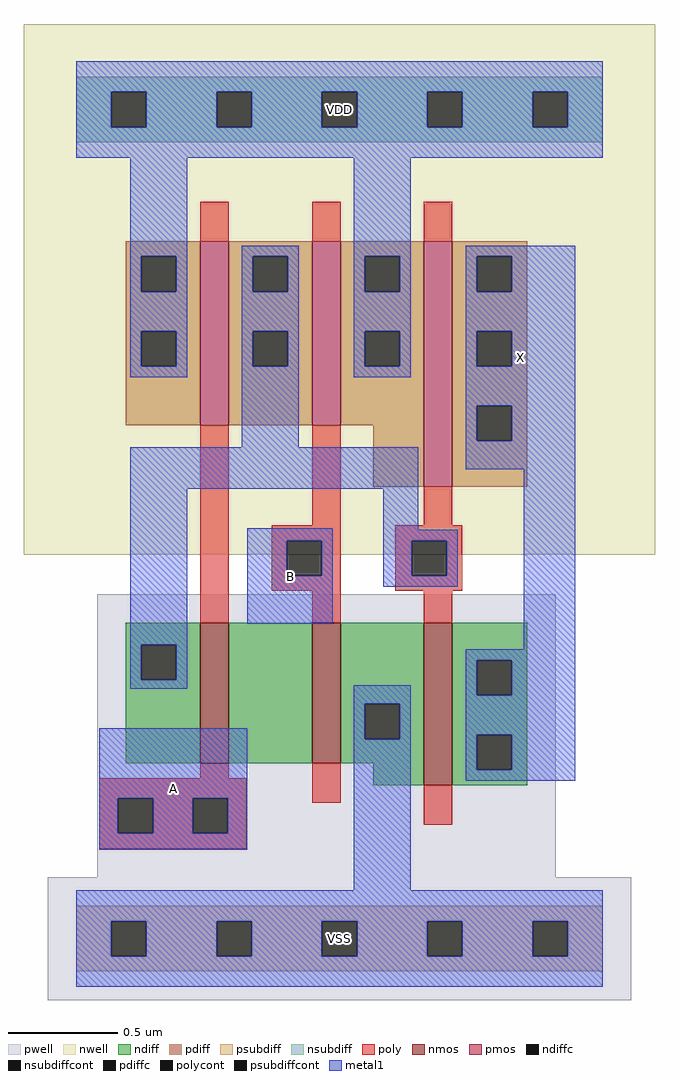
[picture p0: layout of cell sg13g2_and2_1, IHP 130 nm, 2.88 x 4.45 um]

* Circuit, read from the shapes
.subckt sg13g2_and2_1 X VSS VDD B A
XM1 n1 A n2 VSS sg13_lv_nmos w=0.64u l=0.13u
XM2 VSS B n1 VSS sg13_lv_nmos w=0.64u l=0.13u
XM3 X n2 VSS VSS sg13_lv_nmos w=0.74u l=0.13u
XM4 n2 A VDD VDD sg13_lv_pmos w=0.84u l=0.13u
XM5 VDD B n2 VDD sg13_lv_pmos w=0.84u l=0.13u
XM6 X n2 VDD VDD sg13_lv_pmos w=1.12u l=0.13u
.ends

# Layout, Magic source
magic
tech ihp-sg13g2
magscale 1 2
<< nwell >>
rect -48 350 528 834
<< pwell >>
rect 19 56 437 314
rect -26 -56 506 56
<< nmos >>
rect 113 160 139 288
rect 215 160 241 288
rect 317 140 343 288
<< pmos >>
rect 113 468 139 636
rect 215 468 241 636
rect 317 412 343 636
<< ndiff >>
rect 45 268 113 288
rect 45 236 59 268
rect 91 236 113 268
rect 45 160 113 236
rect 139 160 215 288
rect 241 214 317 288
rect 241 182 263 214
rect 295 182 317 214
rect 241 160 317 182
rect 271 140 317 160
rect 343 254 411 288
rect 343 222 365 254
rect 397 222 411 254
rect 343 186 411 222
rect 343 154 365 186
rect 397 154 411 186
rect 343 140 411 154
<< pdiff >>
rect 45 622 113 636
rect 45 590 59 622
rect 91 590 113 622
rect 45 554 113 590
rect 45 522 59 554
rect 91 522 113 554
rect 45 468 113 522
rect 139 622 215 636
rect 139 590 161 622
rect 193 590 215 622
rect 139 554 215 590
rect 139 522 161 554
rect 193 522 215 554
rect 139 468 215 522
rect 241 622 317 636
rect 241 590 263 622
rect 295 590 317 622
rect 241 554 317 590
rect 241 522 263 554
rect 295 522 317 554
rect 241 468 317 522
rect 271 412 317 468
rect 343 622 411 636
rect 343 590 365 622
rect 397 590 411 622
rect 343 554 411 590
rect 343 522 365 554
rect 397 522 411 554
rect 343 486 411 522
rect 343 454 365 486
rect 397 454 411 486
rect 343 412 411 454
<< ndiffc >>
rect 59 236 91 268
rect 263 182 295 214
rect 365 222 397 254
rect 365 154 397 186
<< pdiffc >>
rect 59 590 91 622
rect 59 522 91 554
rect 161 590 193 622
rect 161 522 193 554
rect 263 590 295 622
rect 263 522 295 554
rect 365 590 397 622
rect 365 522 397 554
rect 365 454 397 486
<< psubdiff >>
rect 0 16 480 30
rect 0 -16 32 16
rect 64 -16 128 16
rect 160 -16 224 16
rect 256 -16 320 16
rect 352 -16 416 16
rect 448 -16 480 16
rect 0 -30 480 -16
<< nsubdiff >>
rect 0 772 480 786
rect 0 740 32 772
rect 64 740 128 772
rect 160 740 224 772
rect 256 740 320 772
rect 352 740 416 772
rect 448 740 480 772
rect 0 726 480 740
<< psubdiffcont >>
rect 32 -16 64 16
rect 128 -16 160 16
rect 224 -16 256 16
rect 320 -16 352 16
rect 416 -16 448 16
<< nsubdiffcont >>
rect 32 740 64 772
rect 128 740 160 772
rect 224 740 256 772
rect 320 740 352 772
rect 416 740 448 772
<< poly >>
rect 113 636 139 672
rect 215 636 241 672
rect 317 636 343 672
rect 113 288 139 468
rect 215 377 241 468
rect 317 377 343 412
rect 178 363 241 377
rect 178 331 192 363
rect 224 331 241 363
rect 178 317 241 331
rect 291 363 352 377
rect 291 331 306 363
rect 338 331 352 363
rect 291 317 352 331
rect 215 288 241 317
rect 317 288 343 317
rect 113 146 139 160
rect 21 128 155 146
rect 21 96 38 128
rect 70 96 106 128
rect 138 96 155 128
rect 215 124 241 160
rect 317 104 343 140
rect 21 82 155 96
<< polycont >>
rect 192 331 224 363
rect 306 331 338 363
rect 38 96 70 128
rect 106 96 138 128
<< metal1 >>
rect 0 772 480 800
rect 0 740 32 772
rect 64 740 128 772
rect 160 740 224 772
rect 256 740 320 772
rect 352 740 416 772
rect 448 740 480 772
rect 0 712 480 740
rect 49 622 101 712
rect 49 590 59 622
rect 91 590 101 622
rect 49 554 101 590
rect 49 522 59 554
rect 91 522 101 554
rect 49 512 101 522
rect 151 622 203 632
rect 151 590 161 622
rect 193 590 203 622
rect 151 554 203 590
rect 151 522 161 554
rect 193 522 203 554
rect 151 448 203 522
rect 253 622 305 712
rect 253 590 263 622
rect 295 590 305 622
rect 253 554 305 590
rect 253 522 263 554
rect 295 522 305 554
rect 253 512 305 522
rect 355 622 455 632
rect 355 590 365 622
rect 397 590 455 622
rect 355 554 455 590
rect 355 522 365 554
rect 397 522 455 554
rect 355 486 455 522
rect 355 454 365 486
rect 397 454 455 486
rect 49 410 312 448
rect 355 428 455 454
rect 49 268 101 410
rect 156 363 234 374
rect 156 331 192 363
rect 224 331 234 363
rect 156 287 234 331
rect 280 373 312 410
rect 280 363 348 373
rect 280 331 306 363
rect 338 331 348 363
rect 280 321 348 331
rect 49 236 59 268
rect 91 236 101 268
rect 408 264 455 428
rect 49 228 101 236
rect 355 254 455 264
rect 253 214 305 231
rect 21 128 156 192
rect 21 96 38 128
rect 70 96 106 128
rect 138 96 156 128
rect 21 81 156 96
rect 253 182 263 214
rect 295 182 305 214
rect 253 44 305 182
rect 355 222 365 254
rect 397 222 455 254
rect 355 186 455 222
rect 355 154 365 186
rect 397 154 455 186
rect 355 144 455 154
rect 0 16 480 44
rect 0 -16 32 16
rect 64 -16 128 16
rect 160 -16 224 16
rect 256 -16 320 16
rect 352 -16 416 16
rect 448 -16 480 16
rect 0 -44 480 -16
<< labels >>
flabel metal1 s 355 428 455 632 0 FreeSans 400 0 0 0 X
port 2 nsew
flabel metal1 s 0 -44 480 44 0 FreeSans 400 0 0 0 VSS
port 3 nsew
flabel metal1 s 0 712 480 800 0 FreeSans 400 0 0 0 VDD
port 4 nsew
flabel metal1 s 156 287 234 374 0 FreeSans 400 0 0 0 B
port 5 nsew
flabel metal1 s 21 81 156 192 0 FreeSans 400 0 0 0 A
port 6 nsew
<< properties >>
string FIXED_BBOX 0 0 480 756
string GDS_END 132386
string GDS_FILE 6_final.gds
string GDS_START 128092
<< end >>
